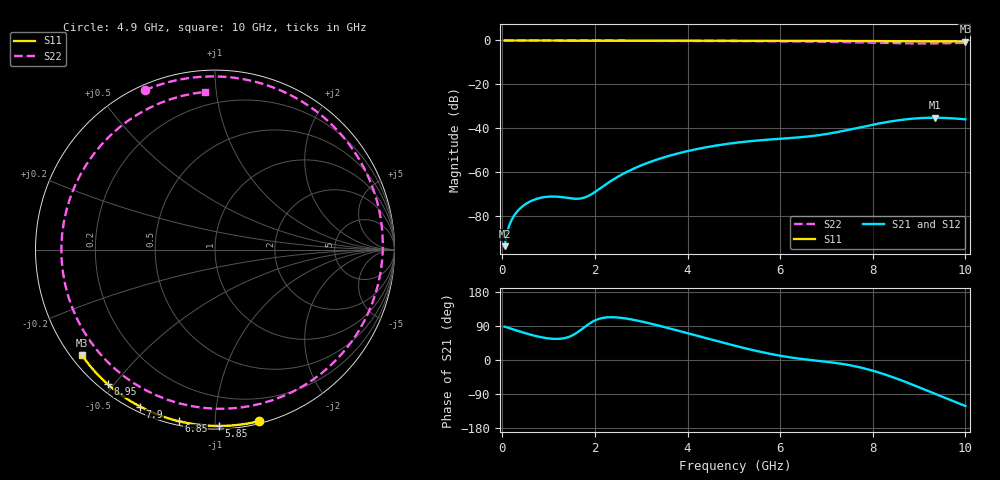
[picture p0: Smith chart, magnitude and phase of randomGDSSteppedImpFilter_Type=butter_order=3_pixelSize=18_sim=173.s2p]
! freq	dB(S11)	phase(S11)	dB(S12)	phase(S12)
!  dB(S21)	phase(S21)	dB(S22)	phase(S22)
!S-par simulation data
#  GHz  S  DB  R 50
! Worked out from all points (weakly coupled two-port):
!   200 points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, 50 MHz to 10 GHz, reference 50 ohm
!   highest |S21| = -35.26 dB at 9.35 GHz (marker M1); lowest = -93.9 dB at 50 MHz (marker M2)
!   lowest |S11| = -0.5 dB at 10 GHz (marker M3), VSWR 36.41, Z = 1.54 - j17.4 ohm
!   |S11| at or under -10 dB: nowhere
!   |S22| runs from -1.4 to 0.0 dB; largest |S21 - S12| = 0
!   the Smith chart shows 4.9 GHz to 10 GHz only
!   S11 on the Smith chart (normalised r, x): 4.9 GHz: 0.02, -1.29; 5.85 GHz: 0.02, -1.02; 6.85 GHz: 0.02, -0.81; 7.9 GHz: 0.02, -0.63; 8.95 GHz: 0.03, -0.48; 10 GHz: 0.03, -0.35
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0.05  -0.00 -0.8  -93.88 88.0  -93.88 88.0  -0.00 -3.3
0.25  -0.01 -4.1  -80.10 80.1  -80.10 80.1  -0.02 -16.2
0.55  -0.01 -9.0  -74.06 68.9  -74.06 68.9  -0.05 -35.3
0.95  -0.02 -15.5  -71.38 57.8  -71.38 57.8  -0.07 -59.7
1.35  -0.03 -21.9  -71.68 57.9  -71.68 57.9  -0.10 -82.7
1.75  -0.04 -28.3  -71.85 84.3  -71.85 84.3  -0.11 -104.0
2.6  -0.05 -41.6  -60.97 110.7  -60.97 110.7  -0.14 -144.8
3.4  -0.07 -53.8  -53.95 90.0  -53.95 90.0  -0.17 -179.8
4.15  -0.09 -64.9  -49.80 65.7  -49.80 65.7  -0.21 147.9
4.9  -0.11 -75.6  -47.08 41.4  -47.08 41.4  -0.26 113.9
5.05  -0.12 -77.7  -46.67 36.8  -46.67 36.8  -0.28 106.6
5.85  -0.15 -88.7  -45.08 14.6  -45.08 14.6  -0.37 64.9
6.7  -0.19 -100.0  -43.59 -0.6  -43.59 -0.6  -0.53 12.7
6.85  -0.20 -102.0  -43.18 -2.6  -43.18 -2.6  -0.58 2.5
7.35  -0.23 -108.4  -41.35 -10.5  -41.35 -10.5  -0.74 -33.7
7.9  -0.27 -115.4  -38.89 -24.9  -38.89 -24.9  -0.98 -77.5
8.35  -0.31 -121.1  -37.08 -41.8  -37.08 -41.8  -1.18 -116.4
8.65  -0.34 -124.9  -36.16 -55.2  -36.16 -55.2  -1.28 -143.6
8.95  -0.36 -128.6  -35.54 -69.7  -35.54 -69.7  -1.34 -171.5
9.35  -0.40 -133.6  -35.26 -89.7  -35.26 -89.7  -1.33 151.1
9.7  -0.44 -137.9  -35.50 -107.1  -35.50 -107.1  -1.23 119.3
10  -0.48 -141.6  -36.00 -121.1  -36.00 -121.1  -1.11 93.6
